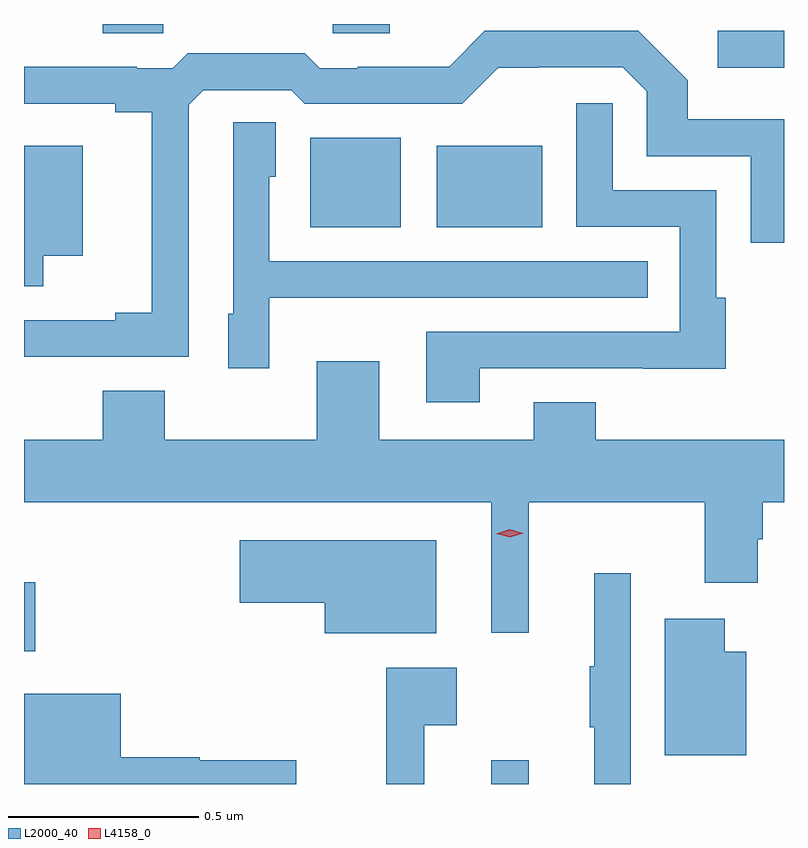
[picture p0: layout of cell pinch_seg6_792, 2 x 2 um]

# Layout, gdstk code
import gdstk
lib = gdstk.Library(unit=1e-6, precision=1e-09)
def R(c, l, rs):  # rectangles x0, y0, x1, y1
    for r in rs: c.add(gdstk.rectangle(r[:2], r[2:], *l))
def P(c, l, *ps):  # polygons
    for p in ps: c.add(gdstk.Polygon(p, *l))
L2000_40 = (2000, 40)
L4158_0 = (4158, 0)

pinch_seg6_792 = lib.new_cell('pinch_seg6_792')
R(pinch_seg6_792, L2000_40, [(305.876,991.882,305.974,991.945), (304.646,992.232,304.676,992.413), (305.399,993.347,305.638,993.583), (305.732,993.347,306.01,993.562), (306.471,993.767,306.646,993.864), (304.853,993.858,305.013,993.882), (305.458,993.858,305.608,993.882)])
P(pinch_seg6_792, L2000_40, [(305.079,993.669),(305.118,993.708),(305.349,993.708),(305.385,993.672),(305.799,993.672),(305.894,993.767),(305.998,993.767),(305.998,993.768),(306.222,993.768),(306.285,993.705),(306.285,993.534),(306.558,993.534),(306.558,993.306),(306.646,993.306),(306.646,993.631),(306.393,993.631),(306.393,993.734),(306.262,993.864),(305.859,993.864),(305.765,993.77),(305.524,993.77),(305.524,993.765),(305.424,993.765),(305.385,993.805),(305.077,993.805),(305.037,993.765),(304.943,993.765),(304.943,993.77),(304.646,993.77),(304.646,993.672),(304.886,993.672),(304.886,993.65),(304.982,993.65),(304.982,993.122),(304.886,993.122),(304.886,993.102),(304.646,993.102),(304.646,993.006),(305.079,993.006)],
  [(305.845,992.976),(306.275,992.976),(306.275,992.975),(306.493,992.975),(306.493,993.162),(306.468,993.162),(306.468,993.444),(306.195,993.444),(306.195,993.673),(306.099,993.673),(306.099,993.348),(306.372,993.348),(306.372,993.072),(305.705,993.072),(305.705,992.886),(305.845,992.886)],
  [(305.292,993.161),(305.609,993.161),(305.609,993.162),(306.287,993.162),(306.287,993.258),(305.292,993.258),(305.292,993.48),(305.308,993.48),(305.308,993.623),(305.196,993.623),(305.196,993.12),(305.183,993.12),(305.183,992.976),(305.292,992.976)],
  [(304.696,993.272),(304.801,993.272),(304.801,993.562),(304.646,993.562),(304.646,993.192),(304.696,993.192)],
  [(305.974,992.624),(306.437,992.624),(306.437,992.412),(306.577,992.412),(306.577,992.526),(306.59,992.526),(306.59,992.624),(306.646,992.624),(306.646,992.788),(306.151,992.788),(306.151,992.887),(305.987,992.887),(305.987,992.788),(305.581,992.788),(305.581,992.995),(305.417,992.995),(305.417,992.788),(305.017,992.788),(305.017,992.917),(304.853,992.917),(304.853,992.788),(304.646,992.788),(304.646,992.624),(305.876,992.624),(305.876,992.28),(305.974,992.28)],
  [(305.731,992.524),(305.214,992.524),(305.214,992.359),(305.438,992.359),(305.438,992.279),(305.731,992.279)],
  [(306.243,992.437),(306.146,992.437),(306.146,992.192),(306.135,992.192),(306.135,992.032),(306.146,992.032),(306.146,991.882),(306.243,991.882)],
  [(306.547,992.23),(306.49,992.23),(306.49,992.317),(306.332,992.317),(306.332,991.958),(306.547,991.958)],
  [(305.699,992.036),(305.785,992.036),(305.785,992.188),(305.599,992.188),(305.599,991.882),(305.699,991.882)],
  [(305.362,991.945),(305.108,991.945),(305.108,991.952),(304.9,991.952),(304.9,992.119),(304.646,992.119),(304.646,991.882),(305.362,991.882)])
P(pinch_seg6_792, L4158_0, [(305.925,992.532),(305.889,992.541),(305.889,992.541),(305.889,992.541),(305.924,992.552),(305.96,992.542),(305.96,992.542),(305.96,992.542)])

lib.write_gds('pinch_seg6_792.gds')
